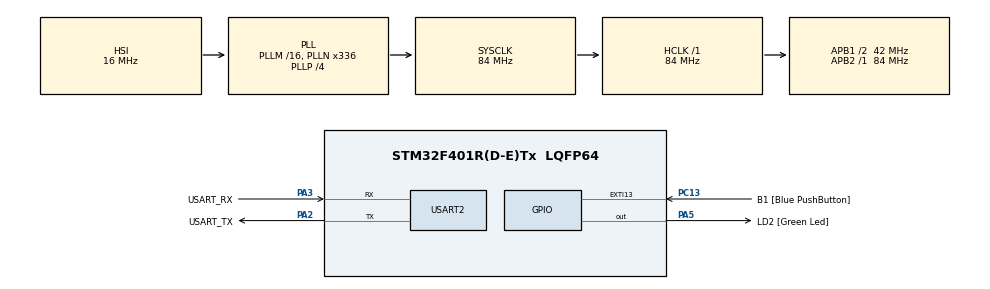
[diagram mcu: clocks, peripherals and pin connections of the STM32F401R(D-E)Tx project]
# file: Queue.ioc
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FREERTOS.Queues01=LEDQueue,16,uint16_t,0,Dynamic,NULL,NULL
FREERTOS.Tasks01=Publisher,0,128,PublisherFunc,Default,NULL,Dynamic,NULL,NULL;Subscriber,0,128,SubscriberFunc,Default,NULL,Dynamic,NULL,NULL
FREERTOS.configUSE_COUNTING_SEMAPHORES=0
FREERTOS.configUSE_TIMERS=1
Mcu.Family=STM32F4
Mcu.Name=STM32F401R(D-E)Tx
Mcu.Package=LQFP64
NVIC.PriorityGroup=NVIC_PRIORITYGROUP_4
NVIC.TIM1_TRG_COM_TIM11_IRQn=true\:0\:0\:false\:false\:true\:false\:false\:true
NVIC.TimeBase=TIM1_TRG_COM_TIM11_IRQn
NVIC.TimeBaseIP=TIM11
PA13.GPIO_Label=TMS
PA13.Mode=Trace_Asynchronous_SW
PA13.Signal=SYS_JTMS-SWDIO
PA14.GPIO_Label=TCK
PA14.Mode=Trace_Asynchronous_SW
PA14.Signal=SYS_JTCK-SWCLK
PA2.GPIO_Label=USART_TX
PA2.GPIO_Mode=GPIO_MODE_AF_PP
PA2.GPIO_PuPd=GPIO_NOPULL
PA2.GPIO_Speed=GPIO_SPEED_FREQ_LOW
PA2.Mode=Asynchronous
PA2.Signal=USART2_TX
PA3.GPIO_Label=USART_RX
PA3.GPIO_Mode=GPIO_MODE_AF_PP
PA3.GPIO_PuPd=GPIO_NOPULL
PA3.GPIO_Speed=GPIO_SPEED_FREQ_LOW
PA3.Mode=Asynchronous
PA3.Signal=USART2_RX
PA5.GPIO_Label=LD2 [Green Led]
PA5.GPIO_Mode=GPIO_MODE_OUTPUT_PP
PA5.GPIO_PuPd=GPIO_NOPULL
PA5.GPIO_Speed=GPIO_SPEED_FREQ_LOW
PA5.Signal=GPIO_Output
PB3.GPIO_Label=SWO
PB3.Mode=Trace_Asynchronous_SW
PB3.Signal=SYS_JTDO-SWO
PC13-ANTI_TAMP.GPIO_Label=B1 [Blue PushButton]
PC13-ANTI_TAMP.GPIO_ModeDefaultEXTI=GPIO_MODE_IT_FALLING
PC13-ANTI_TAMP.GPIO_PuPd=GPIO_NOPULL
PC13-ANTI_TAMP.Signal=GPXTI13
PC14-OSC32_IN.Mode=LSE-External-Oscillator
PC14-OSC32_IN.Signal=RCC_OSC32_IN
PC15-OSC32_OUT.Mode=LSE-External-Oscillator
PC15-OSC32_OUT.Signal=RCC_OSC32_OUT
PH0\ -\ OSC_IN.Mode=HSE-External-Clock-Source
PH0\ -\ OSC_IN.Signal=RCC_OSC_IN
PH1\ -\ OSC_OUT.Mode=HSE-External-Clock-Source
PH1\ -\ OSC_OUT.Signal=RCC_OSC_OUT
ProjectManager.HeapSize=0x200
ProjectManager.StackSize=0x400
ProjectManager.TargetToolchain=STM32CubeIDE
RCC.48MHZClocksFreq_Value=48000000
RCC.AHBFreq_Value=84000000
RCC.APB1CLKDivider=RCC_HCLK_DIV2
RCC.APB1Freq_Value=42000000
RCC.APB1TimFreq_Value=84000000
RCC.APB2Freq_Value=84000000
RCC.APB2TimFreq_Value=84000000
RCC.CortexFreq_Value=84000000
RCC.HCLKFreq_Value=84000000
RCC.HSE_VALUE=8000000
RCC.HSI_VALUE=16000000
RCC.PLLN=336
RCC.PLLP=RCC_PLLP_DIV4
RCC.PLLQ=7
RCC.SYSCLKFreq_VALUE=84000000
RCC.SYSCLKSource=RCC_SYSCLKSOURCE_PLLCLK
RCC.VCOOutputFreq_Value=336000000
USART2.VirtualMode=VM_ASYNC
VP_FREERTOS_VS_CMSIS_V1.Mode=CMSIS_V1
VP_SYS_VS_tim11.Mode=TIM11
board=NUCLEO-F401RE

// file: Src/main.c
/* USER CODE BEGIN Header */
/**
  ******************************************************************************
  * @file           : main.c
  * @brief          : Main program body
  ******************************************************************************
  * @attention
  *
  * <h2><center>&copy; Copyright (c) 2019 STMicroelectronics.
  * All rights reserved.</center></h2>
  *
  * This software component is licensed by ST under BSD 3-Clause license,
  * the "License"; You may not use this file except in compliance with the
  * License. You may obtain a copy of the License at:
  *                        opensource.org/licenses/BSD-3-Clause
  *
  ******************************************************************************
  */
/* USER CODE END Header */

#include "main.h"
#include "cmsis_os.h"

/* USER CODE BEGIN Includes */
#include "stdio.h"
/* USER CODE END Includes */

UART_HandleTypeDef huart2;

osThreadId PublisherHandle;
osThreadId SubscriberHandle;
osMessageQId LEDQueueHandle;

void SystemClock_Config(void);
static void MX_GPIO_Init(void);
static void MX_USART2_UART_Init(void);
void PublisherFunc(void const * argument);
void SubscriberFunc(void const * argument);

/* USER CODE BEGIN 0 */
uint32_t interval = 1000;
/* USER CODE END 0 */

int main(void)
{

  /* MCU Configuration--------------------------------------------------------*/

  /* Reset of all peripherals, Initializes the Flash interface and the Systick. */
  HAL_Init();

  /* Configure the system clock */
  SystemClock_Config();

  /* Initialize all configured peripherals */
  MX_GPIO_Init();
  MX_USART2_UART_Init();

  /* Create the queue(s) */
  /* definition and creation of LEDQueue */
  osMessageQDef(LEDQueue, 16, uint16_t);
  LEDQueueHandle = osMessageCreate(osMessageQ(LEDQueue), NULL);

  /* Create the thread(s) */
  /* definition and creation of Publisher */
  osThreadDef(Publisher, PublisherFunc, osPriorityNormal, 0, 128);
  PublisherHandle = osThreadCreate(osThread(Publisher), NULL);

  /* definition and creation of Subscriber */
  osThreadDef(Subscriber, SubscriberFunc, osPriorityNormal, 0, 128);
  SubscriberHandle = osThreadCreate(osThread(Subscriber), NULL);

  /* Start scheduler */
  osKernelStart();

  /* We should never get here as control is now taken by the scheduler */

  /* Infinite loop */
  while (1)
  {

  }
}

void SystemClock_Config(void)
{
  RCC_OscInitTypeDef RCC_OscInitStruct = {0};
  RCC_ClkInitTypeDef RCC_ClkInitStruct = {0};

  /** Configure the main internal regulator output voltage
  */
  __HAL_RCC_PWR_CLK_ENABLE();
  __HAL_PWR_VOLTAGESCALING_CONFIG(PWR_REGULATOR_VOLTAGE_SCALE2);
  /** Initializes the CPU, AHB and APB busses clocks
  */
  RCC_OscInitStruct.OscillatorType = RCC_OSCILLATORTYPE_HSI;
  RCC_OscInitStruct.HSIState = RCC_HSI_ON;
  RCC_OscInitStruct.HSICalibrationValue = RCC_HSICALIBRATION_DEFAULT;
  RCC_OscInitStruct.PLL.PLLState = RCC_PLL_ON;
  RCC_OscInitStruct.PLL.PLLSource = RCC_PLLSOURCE_HSI;
  RCC_OscInitStruct.PLL.PLLM = 16;
  RCC_OscInitStruct.PLL.PLLN = 336;
  RCC_OscInitStruct.PLL.PLLP = RCC_PLLP_DIV4;
  RCC_OscInitStruct.PLL.PLLQ = 7;
  if (HAL_RCC_OscConfig(&RCC_OscInitStruct) != HAL_OK)
  {
    Error_Handler();
  }
  /** Initializes the CPU, AHB and APB busses clocks
  */
  RCC_ClkInitStruct.ClockType = RCC_CLOCKTYPE_HCLK|RCC_CLOCKTYPE_SYSCLK
                              |RCC_CLOCKTYPE_PCLK1|RCC_CLOCKTYPE_PCLK2;
  RCC_ClkInitStruct.SYSCLKSource = RCC_SYSCLKSOURCE_PLLCLK;
  RCC_ClkInitStruct.AHBCLKDivider = RCC_SYSCLK_DIV1;
  RCC_ClkInitStruct.APB1CLKDivider = RCC_HCLK_DIV2;
  RCC_ClkInitStruct.APB2CLKDivider = RCC_HCLK_DIV1;

  if (HAL_RCC_ClockConfig(&RCC_ClkInitStruct, FLASH_LATENCY_2) != HAL_OK)
  {
    Error_Handler();
  }
}

static void MX_USART2_UART_Init(void)
{

  huart2.Instance = USART2;
  huart2.Init.BaudRate = 115200;
  huart2.Init.WordLength = UART_WORDLENGTH_8B;
  huart2.Init.StopBits = UART_STOPBITS_1;
  huart2.Init.Parity = UART_PARITY_NONE;
  huart2.Init.Mode = UART_MODE_TX_RX;
  huart2.Init.HwFlowCtl = UART_HWCONTROL_NONE;
  huart2.Init.OverSampling = UART_OVERSAMPLING_16;
  if (HAL_UART_Init(&huart2) != HAL_OK)
  {
    Error_Handler();
  }

}

static void MX_GPIO_Init(void)
{
  GPIO_InitTypeDef GPIO_InitStruct = {0};

  /* GPIO Ports Clock Enable */
  __HAL_RCC_GPIOC_CLK_ENABLE();
  __HAL_RCC_GPIOH_CLK_ENABLE();
  __HAL_RCC_GPIOA_CLK_ENABLE();
  __HAL_RCC_GPIOB_CLK_ENABLE();

  /*Configure GPIO pin Output Level */
  HAL_GPIO_WritePin(LD2_GPIO_Port, LD2_Pin, GPIO_PIN_RESET);

  /*Configure GPIO pin : B1_Pin */
  GPIO_InitStruct.Pin = B1_Pin;
  GPIO_InitStruct.Mode = GPIO_MODE_IT_FALLING;
  GPIO_InitStruct.Pull = GPIO_NOPULL;
  HAL_GPIO_Init(B1_GPIO_Port, &GPIO_InitStruct);

  /*Configure GPIO pin : LD2_Pin */
  GPIO_InitStruct.Pin = LD2_Pin;
  GPIO_InitStruct.Mode = GPIO_MODE_OUTPUT_PP;
  GPIO_InitStruct.Pull = GPIO_NOPULL;
  GPIO_InitStruct.Speed = GPIO_SPEED_FREQ_LOW;
  HAL_GPIO_Init(LD2_GPIO_Port, &GPIO_InitStruct);

}

void PublisherFunc(void const * argument)
{

  /* USER CODE BEGIN 5 */
  uint16_t led = 0;
  /* Infinite loop */
  for(;;)
  {
    if (led == 0) {
      led = 1;
    } else {
      led = 0;
    }
    osMessagePut(LEDQueueHandle, led, 0);
    osDelay(1000);
  }
  /* USER CODE END 5 */
}

void SubscriberFunc(void const * argument)
{
  /* USER CODE BEGIN SubscriberFunc */
  /* Infinite loop */
  for(;;)
  {
    osEvent event = osMessageGet(LEDQueueHandle, 0);
    if (event.status == osEventMessage) {
      if (event.value.v == 0) {
        HAL_GPIO_WritePin(LD2_GPIO_Port, LD2_Pin, GPIO_PIN_RESET);
      } else {
        HAL_GPIO_WritePin(LD2_GPIO_Port, LD2_Pin, GPIO_PIN_SET);
      }
    }
  }
  /* USER CODE END SubscriberFunc */
}

void HAL_TIM_PeriodElapsedCallback(TIM_HandleTypeDef *htim)
{
  if (htim->Instance == TIM11) {
    HAL_IncTick();
  }
}

void Error_Handler(void)
{
}

/************************ (C) COPYRIGHT STMicroelectronics *****END OF FILE****/
